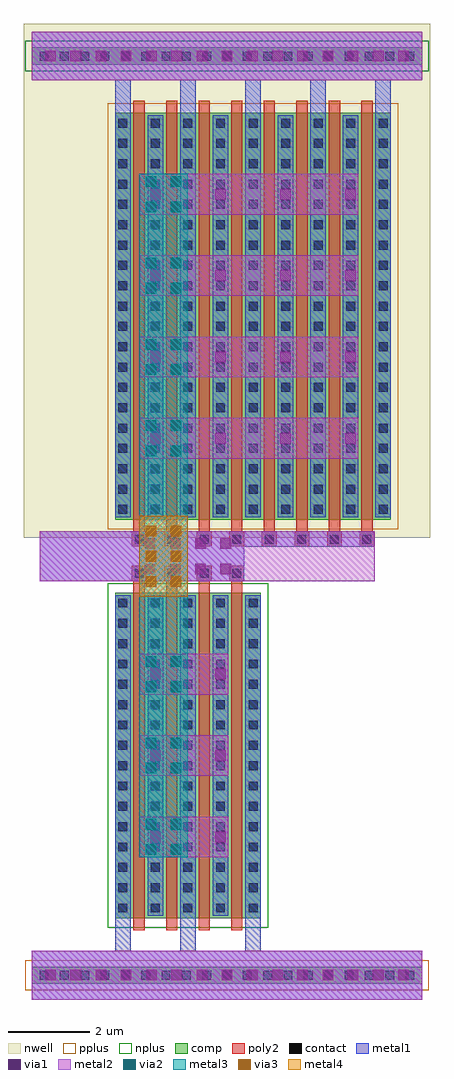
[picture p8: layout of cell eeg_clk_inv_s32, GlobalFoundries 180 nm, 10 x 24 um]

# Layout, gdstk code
import gdstk
lib = gdstk.Library(unit=1e-6, precision=1e-09)
def R(c, l, rs):  # rectangles x0, y0, x1, y1
    for r in rs: c.add(gdstk.rectangle(r[:2], r[2:], *l))
def A(c, l, x, y, w, h, nx, ny, dx, dy):  # array of equal rectangles
    R(c, l, [(x+i*dx, y+j*dy, x+i*dx+w, y+j*dy+h) for i in range(nx) for j in range(ny)])
nwell = (21, 0)
comp = (22, 0)
poly2 = (30, 0)
pplus = (31, 0)
nplus = (32, 0)
contact = (33, 0)
metal1 = (34, 0)
via1 = (35, 0)
metal2 = (36, 0)
via2 = (38, 0)
via3 = (40, 0)
metal3 = (42, 0)
metal4 = (46, 0)

eeg_clk_inv_s32 = lib.new_cell('eeg_clk_inv_s32')
R(eeg_clk_inv_s32, nwell, [(-0.2,11.35,9.8,24)])
R(eeg_clk_inv_s32, comp, [(0,0.39,9.6,0.81), (2.05,2,5.63,10), (2.05,11.8,8.83,21.8), (0,22.99,9.6,23.41)])
A(eeg_clk_inv_s32, poly2, 2.5, 1.7, 0.28, 8.96, 4, 1, 0.8, 0)
A(eeg_clk_inv_s32, poly2, 2.46, 10.3, 0.36, 0.36, 4, 1, 0.8, 0)
A(eeg_clk_inv_s32, poly2, 2.46, 11.14, 0.36, 0.36, 8, 1, 0.8, 0)
A(eeg_clk_inv_s32, poly2, 2.5, 11.14, 0.28, 10.96, 8, 1, 0.8, 0)
R(eeg_clk_inv_s32, pplus, [(-0.16,0.23,9.76,0.97), (1.87,11.56,9.01,22.04)])
R(eeg_clk_inv_s32, nplus, [(1.87,1.76,5.81,10.24), (-0.16,22.83,9.76,23.57)])
A(eeg_clk_inv_s32, contact, 0.19, 0.49, 0.22, 0.22, 19, 2, 0.5, 22.6)
A(eeg_clk_inv_s32, contact, 2.13, 2.14, 0.22, 0.22, 5, 16, 0.8, 0.5)
A(eeg_clk_inv_s32, contact, 2.53, 10.37, 0.22, 0.22, 4, 1, 0.8, 0)
A(eeg_clk_inv_s32, contact, 2.53, 11.21, 0.22, 0.22, 8, 1, 0.8, 0)
A(eeg_clk_inv_s32, contact, 2.13, 11.94, 0.22, 0.22, 9, 20, 0.8, 0.5)
A(eeg_clk_inv_s32, metal1, 2.05, 0.6, 0.38, 9.34, 3, 1, 1.6, 0)
A(eeg_clk_inv_s32, metal1, 2.05, 11.86, 0.38, 11.34, 5, 1, 1.6, 0)
A(eeg_clk_inv_s32, metal1, 2.85, 11.86, 0.38, 9.88, 4, 1, 1.6, 0)
R(eeg_clk_inv_s32, metal1, [(0,0,9.6,1.2), (0.2,0.1,9.4,1.1), (0,0.39,9.6,0.81), (2.85,2.06,3.23,9.94), (4.45,2.06,4.83,9.94), (0.2,10.29,5.23,11.51), (2.45,10.29,5.23,10.67), (2.45,10.29,5.23,11.51), (2.45,11.13,8.43,11.51), (0,22.6,9.6,23.8), (0.2,22.7,9.4,23.7), (0,22.99,9.6,23.41)])
A(eeg_clk_inv_s32, via1, 0.33, 0.47, 0.26, 0.26, 15, 2, 0.62, 22.6)
A(eeg_clk_inv_s32, via1, 2.91, 3.87, 0.26, 0.26, 1, 3, 0, 2)
A(eeg_clk_inv_s32, via1, 4.51, 3.87, 0.26, 0.26, 1, 3, 0, 2)
A(eeg_clk_inv_s32, via1, 2.78, 10.46, 0.26, 0.26, 4, 2, 0.62, 0.62)
A(eeg_clk_inv_s32, via1, 2.91, 13.67, 0.26, 0.26, 4, 4, 1.6, 2)
A(eeg_clk_inv_s32, metal2, 2.64, 3.5, 1.2, 1, 1, 3, 0, 2)
A(eeg_clk_inv_s32, metal2, 2.85, 3.5, 1.98, 1, 1, 3, 0, 2)
A(eeg_clk_inv_s32, metal2, 2.64, 13.3, 1.2, 1, 1, 4, 0, 2)
A(eeg_clk_inv_s32, metal2, 2.85, 13.3, 5.18, 1, 1, 4, 0, 2)
R(eeg_clk_inv_s32, metal2, [(0,0,9.6,1.2), (0.2,0.1,9.4,1.1), (0.2,10.29,8.43,11.51), (2.45,10.29,5.23,11.51), (0,22.6,9.6,23.8), (0.2,22.7,9.4,23.7)])
R(eeg_clk_inv_s32, via2, [(2.8,3.56,3.06,3.82), (3.42,3.56,3.68,3.82), (2.8,4.18,3.06,4.44), (3.42,4.18,3.68,4.44), (2.8,5.56,3.06,5.82), (3.42,5.56,3.68,5.82), (2.8,6.18,3.06,6.44), (3.42,6.18,3.68,6.44), (2.8,7.56,3.06,7.82), (3.42,7.56,3.68,7.82), (2.8,8.18,3.06,8.44), (3.42,8.18,3.68,8.44), (2.8,13.36,3.06,13.62), (3.42,13.36,3.68,13.62), (2.8,13.98,3.06,14.24), (3.42,13.98,3.68,14.24), (2.8,15.36,3.06,15.62), (3.42,15.36,3.68,15.62), (2.8,15.98,3.06,16.24), (3.42,15.98,3.68,16.24), (2.8,17.36,3.06,17.62), (3.42,17.36,3.68,17.62), (2.8,17.98,3.06,18.24), (3.42,17.98,3.68,18.24), (2.8,19.36,3.06,19.62), (3.42,19.36,3.68,19.62), (2.8,19.98,3.06,20.24), (3.42,19.98,3.68,20.24)])
A(eeg_clk_inv_s32, via3, 2.8, 10.15, 0.26, 0.26, 1, 3, 0, 0.62)
A(eeg_clk_inv_s32, via3, 3.42, 10.15, 0.26, 0.26, 1, 3, 0, 0.62)
A(eeg_clk_inv_s32, metal3, 2.64, 3.5, 1.2, 1, 1, 3, 0, 2)
A(eeg_clk_inv_s32, metal3, 2.64, 13.3, 1.2, 1, 1, 4, 0, 2)
R(eeg_clk_inv_s32, metal3, [(2.64,3.5,3.84,20.3), (2.64,9.9,3.84,11.9)])
R(eeg_clk_inv_s32, metal4, [(2.64,9.9,3.84,11.9), (2.64,9.9,3.84,11.9)])

lib.write_gds('eeg_clk_inv_s32.gds')
